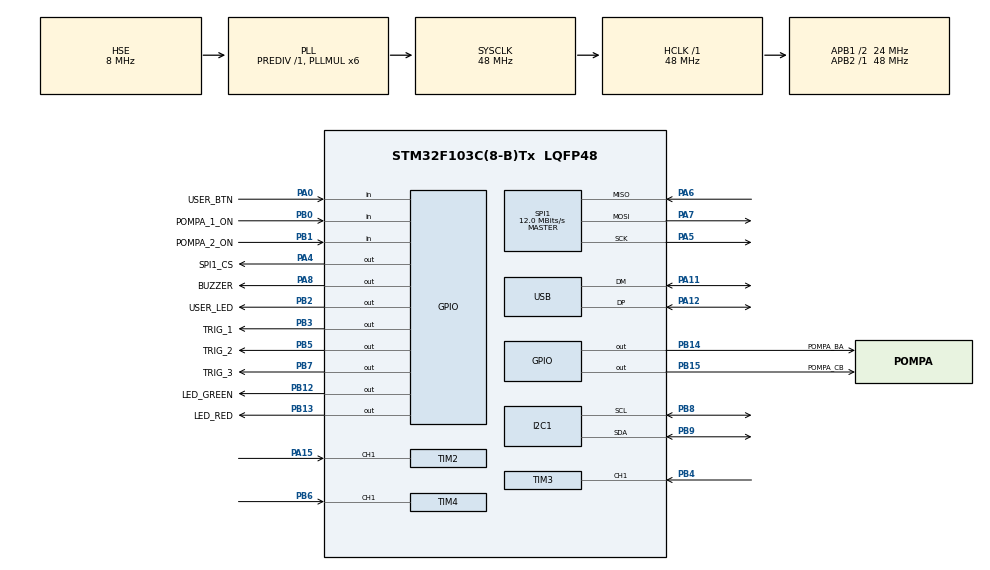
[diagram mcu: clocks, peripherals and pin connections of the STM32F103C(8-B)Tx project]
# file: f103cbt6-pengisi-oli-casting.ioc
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Mcu.Family=STM32F1
Mcu.Name=STM32F103C(8-B)Tx
Mcu.Package=LQFP48
NVIC.PriorityGroup=NVIC_PRIORITYGROUP_4
NVIC.TIM2_IRQn=true\:0\:0\:false\:false\:true\:true\:true\:true
NVIC.TIM3_IRQn=true\:0\:0\:false\:false\:true\:true\:true\:true
NVIC.TIM4_IRQn=true\:0\:0\:false\:false\:true\:true\:true\:true
NVIC.USB_LP_CAN1_RX0_IRQn=true\:0\:0\:false\:false\:true\:false\:true\:true
PA0-WKUP.GPIO_Label=USER_BTN
PA0-WKUP.GPIO_PuPd=GPIO_PULLDOWN
PA0-WKUP.Signal=GPIO_Input
PA11.Mode=Device
PA11.Signal=USB_DM
PA12.Mode=Device
PA12.Signal=USB_DP
PA13.Mode=Serial_Wire
PA13.Signal=SYS_JTMS-SWDIO
PA14.Mode=Serial_Wire
PA14.Signal=SYS_JTCK-SWCLK
PA15.Signal=S_TIM2_CH1_ETR
PA4.GPIO_Label=SPI1_CS
PA4.Signal=GPIO_Output
PA5.Mode=Full_Duplex_Master
PA5.Signal=SPI1_SCK
PA6.Mode=Full_Duplex_Master
PA6.Signal=SPI1_MISO
PA7.Mode=Full_Duplex_Master
PA7.Signal=SPI1_MOSI
PA8.GPIO_Label=BUZZER
PA8.Signal=GPIO_Output
PB0.GPIO_Label=POMPA_1_ON
PB0.GPIO_Mode=GPIO_MODE_INPUT
PB0.GPIO_PuPd=GPIO_PULLUP
PB0.Signal=GPIO_Input
PB1.GPIO_Label=POMPA_2_ON
PB1.GPIO_Mode=GPIO_MODE_INPUT
PB1.GPIO_PuPd=GPIO_PULLUP
PB1.Signal=GPIO_Input
PB12.GPIO_Label=LED_GREEN
PB12.Signal=GPIO_Output
PB13.GPIO_Label=LED_RED
PB13.Signal=GPIO_Output
PB14.GPIO_Label=POMPA_BA
PB14.Signal=GPIO_Output
PB15.GPIO_Label=POMPA_CB
PB15.Signal=GPIO_Output
PB2.GPIO_Label=USER_LED
PB2.Signal=GPIO_Output
PB3.GPIO_Label=TRIG_1
PB3.Signal=GPIO_Output
PB4.Signal=S_TIM3_CH1
PB5.GPIO_Label=TRIG_2
PB5.Signal=GPIO_Output
PB6.Signal=S_TIM4_CH1
PB7.GPIO_Label=TRIG_3
PB7.Signal=GPIO_Output
PB8.Mode=I2C
PB8.Signal=I2C1_SCL
PB9.Mode=I2C
PB9.Signal=I2C1_SDA
PC14-OSC32_IN.Mode=LSE-External-Oscillator
PC14-OSC32_IN.Signal=RCC_OSC32_IN
PC15-OSC32_OUT.Mode=LSE-External-Oscillator
PC15-OSC32_OUT.Signal=RCC_OSC32_OUT
PD0-OSC_IN.Mode=HSE-External-Oscillator
PD0-OSC_IN.Signal=RCC_OSC_IN
PD1-OSC_OUT.Mode=HSE-External-Oscillator
PD1-OSC_OUT.Signal=RCC_OSC_OUT
ProjectManager.HeapSize=0x200
ProjectManager.StackSize=0x400
ProjectManager.TargetToolchain=STM32CubeIDE
RCC.AHBFreq_Value=48000000
RCC.APB1CLKDivider=RCC_HCLK_DIV2
RCC.APB1Freq_Value=24000000
RCC.APB1TimFreq_Value=48000000
RCC.APB2Freq_Value=48000000
RCC.APB2TimFreq_Value=48000000
RCC.HCLKFreq_Value=48000000
RCC.PLLMUL=RCC_PLL_MUL6
RCC.SYSCLKFreq_VALUE=48000000
RCC.SYSCLKSource=RCC_SYSCLKSOURCE_PLLCLK
RCC.USBFreq_Value=48000000
SH.S_TIM2_CH1_ETR.0=TIM2_CH1,Input_Capture1_from_TI1
SH.S_TIM3_CH1.0=TIM3_CH1,Input_Capture1_from_TI1
SH.S_TIM4_CH1.0=TIM4_CH1,Input_Capture1_from_TI1
SPI1.BaudRatePrescaler=SPI_BAUDRATEPRESCALER_4
SPI1.CalculateBaudRate=12.0 MBits/s
SPI1.Direction=SPI_DIRECTION_2LINES
SPI1.Mode=SPI_MODE_MASTER
SPI1.VirtualType=VM_MASTER
TIM2.Channel-Input_Capture1_from_TI1=TIM_CHANNEL_1
TIM3.Channel-Input_Capture1_from_TI1=TIM_CHANNEL_1
TIM4.Channel-Input_Capture1_from_TI1=TIM_CHANNEL_1
USB_DEVICE.CLASS_NAME_FS=CDC
USB_DEVICE.VirtualMode=Cdc
USB_DEVICE.VirtualModeFS=Cdc_FS
VP_FATFS_VS_Generic.Mode=User_defined
VP_RTC_VS_RTC_Activate.Mode=RTC_Enabled
VP_RTC_VS_RTC_Calendar.Mode=RTC_Calendar
VP_TIM2_VS_ClockSourceINT.Mode=Internal
VP_TIM3_VS_ClockSourceINT.Mode=Internal
VP_TIM4_VS_ClockSourceINT.Mode=Internal
VP_USB_DEVICE_VS_USB_DEVICE_CDC_FS.Mode=CDC_FS
board=custom

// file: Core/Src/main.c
/* USER CODE BEGIN Header */
/**
 ******************************************************************************
 * @file           : main.c
 * @brief          : Main program body
 ******************************************************************************
 * @attention
 *
 * Copyright (c) 2025 STMicroelectronics.
 * All rights reserved.
 *
 * This software is licensed under terms that can be found in the LICENSE file
 * in the root directory of this software component.
 * If no LICENSE file comes with this software, it is provided AS-IS.
 *
 ******************************************************************************
 */
/* USER CODE END Header */
#include "main.h"
#include "fatfs.h"
#include "usb_device.h"

/* USER CODE BEGIN Includes */
#include <string.h>
#include <stdio.h>
#include <stdlib.h>
#include <stdarg.h>
#include "lcd_i2c.h"
#include "usbd_cdc_if.h" // Diperlukan untuk VCP
#include "HCSR04.h"
/* USER CODE END Includes */

/* USER CODE BEGIN PTD */

// Struktur untuk state kontrol pengisian (histeresis)
typedef enum
{
  STATE_IDLE,
  STATE_FILLING,
  STATE_FILLING_B, // isi drum B
  STATE_FILLING_C  // isi drum C
} FillState;

// Struktur untuk menyimpan semua parameter yang dapat dikonfigurasi
typedef struct
{
  uint32_t magic_number; // Penanda untuk verifikasi data di Flash

  float tinggi_A;
  float ambang_bawah_A;
  float target_penuh_A;

  float tinggi_B;
  float ambang_bawah_B;
  float target_penuh_B;

  float tinggi_C;
  float ambang_bawah_C;
  float target_penuh_C;

  float sumber_kosong;

  uint8_t moving_avg_size; // Jumlah nilai yang akan dirata-rata
} ControlParams;
/* USER CODE END PTD */

/* USER CODE BEGIN PD */
#define JENIS_ALARM 1         // 1 nyalakan alarm ketika penuh atau kosong, 2 nyalakan alarm dari kosong sampai penuh, 3 alarm kosong saja
#define AUTO_CUT_OFF 0        // 1 tambah fitur auto cutoff, 0 full manual sensor hanya peringatan
#define SAMPLE_SIZE 8         // Define the size of the first-stage sampling
#define MAX_MOVING_AVG_SIZE 5 // Ukuran maksimum buffer

#define GUNAKAN_LCD 1     // Aktifkan jika menggunakan LCD I2C
#define GUNAKAN_SD_CARD 0 // Aktifkan jika menggunakan SD Card

#define HCSR04_SENSOR1 0
#define HCSR04_SENSOR2 1
#define HCSR04_SENSOR3 2

#define NUM_SENSORS 3

// Definisi Konstanta Kontrol Drum
#define TINGGI_A 85.0f // dalam cm
#define TINGGI_B 85.0f // dalam cm
#define TINGGI_C 85.0f // dalam cm

#define AMBANG_BAWAH 25.0f // Level 25% untuk memicu pengisian
#define TARGET_PENUH 70.0f // Target 70% untuk menghentikan pengisian
#define SUMBER_KOSONG 1.0f // Anggap sumber kosong jika level <= 1%

// Alamat di memori Flash untuk menyimpan parameter.
// Pilih sektor terakhir agar aman dari kode program utama.
// Untuk STM32F103C8 (64KB), alamat page terakhir adalah 0x0800FC00.
#define FLASH_STORAGE_ADDRESS 0x0800FC00
#define FLASH_MAGIC_NUMBER 0xDEADBEEF // Penanda data valid
/* USER CODE END PD */

I2C_HandleTypeDef hi2c1;

RTC_HandleTypeDef hrtc;

SPI_HandleTypeDef hspi1;

TIM_HandleTypeDef htim2;
TIM_HandleTypeDef htim3;
TIM_HandleTypeDef htim4;

/* USER CODE BEGIN PV */
// Variables for the new two-stage filter
float sample_buffer1[SAMPLE_SIZE];
float sample_buffer2[SAMPLE_SIZE];
float sample_buffer3[SAMPLE_SIZE];
uint8_t sample_counter = 0;

// New buffers for the two-stage filter
int Stage2_buffer1[MAX_MOVING_AVG_SIZE];
int Stage2_buffer2[MAX_MOVING_AVG_SIZE];
int Stage2_buffer3[MAX_MOVING_AVG_SIZE];

uint8_t stage2_index1 = 0;
uint8_t stage2_index2 = 0;
uint8_t stage2_index3 = 0;

uint8_t is_stage2_full1 = 0;
uint8_t is_stage2_full2 = 0;
uint8_t is_stage2_full3 = 0;

// variabel moving average
float Distance1_buffer[MAX_MOVING_AVG_SIZE];
float Distance2_buffer[MAX_MOVING_AVG_SIZE];
float Distance3_buffer[MAX_MOVING_AVG_SIZE];

float filtered_distance1, filtered_distance2, filtered_distance3;

uint8_t buffer_index_1 = 0;
uint8_t buffer_index_2 = 0;
uint8_t buffer_index_3 = 0;

uint8_t is_buffer_full_1 = 0;
uint8_t is_buffer_full_2 = 0;
uint8_t is_buffer_full_3 = 0;

// Buffer untuk LCD (misalnya, 20 karakter)
char lcd_buffer1[20];
char lcd_buffer2[20];

// Variabel untuk level air
float LevelA_persen = 0, LevelB_persen = 0, LevelC_persen = 0;

// State sebelumnya per drum
static uint8_t was_full_A = 0, was_full_B = 0, was_full_C = 0;
static uint8_t was_empty_A = 0, was_empty_B = 0, was_empty_C = 0;
uint8_t is_full_A = 0, is_full_B = 0, is_full_C = 0;
uint8_t is_empty_A = 0, is_empty_B = 0, is_empty_C = 0;
// Timer buzzer
static uint32_t buzzer_start_time = 0;
static uint8_t buzzer_active = 0;
uint8_t flag_alarm_sampai_penuh = 0;

// Variabel state untuk kontrol histeresis
FillState state_pompa_A = STATE_IDLE;
FillState state_pompa_B = STATE_IDLE;

// Variabel global untuk menyimpan parameter
ControlParams g_params;

// Variabel untuk CLI via USB VCP
#define RX_BUFFER_SIZE 128
uint8_t g_usb_rx_buffer[RX_BUFFER_SIZE];
volatile uint32_t g_rx_index = 0;
volatile uint8_t g_command_ready = 0;

// variabel untuk sensor ultrasonik
uint16_t TRIG_Ticks = 0;
uint16_t LCD_Ticks = 0;
float Distance1 = 0.0, Distance2 = 0.0, Distance3 = 0.0;
char TEXT_L1[16] = {0};
char TEXT_L2[16] = {0};

// Timers for non-blocking loops
uint32_t last_trig_time = 0;
uint32_t trig_time = 25;
uint8_t counter_trig = 0;

/* USER CODE END PV */

void SystemClock_Config(void);
static void MX_GPIO_Init(void);
static void MX_I2C1_Init(void);
static void MX_RTC_Init(void);
static void MX_SPI1_Init(void);
static void MX_TIM2_Init(void);
static void MX_TIM3_Init(void);
static void MX_TIM4_Init(void);
/* USER CODE BEGIN PFP */
void Run_Control_Logic(void);
void Update_LCD_Display(void);
void Log_Data_To_SD(void);

// Fungsi untuk CLI dan Parameter
void VCP_printf(const char *format, ...);
void Process_Command(uint8_t *cmd_buffer);
void Save_Parameters_To_Flash(void);
void Load_Parameters_From_Flash(void);
void Set_Default_Parameters(void);
float calculate_moving_average(float *buffer, uint8_t size, uint8_t is_full);
float calculate_weighted_moving_average(float *buffer, uint8_t size, uint8_t is_full);
float find_max_in_sample(float *sample_buffer, float tinggi_drum);
int find_mode_in_buffer(int *buffer, uint8_t size, uint8_t is_full);

/* USER CODE END PFP */

int main(void)
{

  /* MCU Configuration--------------------------------------------------------*/

  /* Reset of all peripherals, Initializes the Flash interface and the Systick. */
  HAL_Init();

  /* Configure the system clock */
  SystemClock_Config();

  /* Initialize all configured peripherals */
  MX_GPIO_Init();
  MX_I2C1_Init();
  MX_RTC_Init();
  MX_SPI1_Init();
  MX_FATFS_Init();
  MX_USB_DEVICE_Init();
  MX_TIM2_Init();
  MX_TIM3_Init();
  MX_TIM4_Init();
  /* USER CODE BEGIN 2 */
#if GUNAKAN_LCD
  lcd_init(&hi2c1); // Inisialisasi LCD I2C
  lcd_clear();      // Bersihkan LCD

  // pesan awal di LCD
  lcd_set_cursor(0, 0);
  sprintf(lcd_buffer1, "hai dunia");
  lcd_send_string(lcd_buffer1);
#endif

  // inisialisasi sensor ultrasonik
  HCSR04_Init(HCSR04_SENSOR1, &htim2);
  HCSR04_Init(HCSR04_SENSOR2, &htim3);
  HCSR04_Init(HCSR04_SENSOR3, &htim4);

  // Muat parameter dari Flash saat startup
  Load_Parameters_From_Flash();

  // Beri sedikit waktu agar USB siap
  HAL_Delay(2000);
  VCP_printf("\r\nSistem Kontrol Drum Siap. Ketik '$H' untuk bantuan.\r\n");
  /* USER CODE END 2 */

  /* Infinite loop */
  /* USER CODE BEGIN WHILE */
  while (1)
  {
    Distance1 = HCSR04_Read(HCSR04_SENSOR1);
    Distance2 = HCSR04_Read(HCSR04_SENSOR2);
    Distance3 = HCSR04_Read(HCSR04_SENSOR3);

    uint32_t current_time = HAL_GetTick();

    // --- Task-like functions execution ---

    // Run HCSR04_Trigger every 100ms
    if (current_time - last_trig_time >= trig_time)
    {
      HCSR04_Trigger(HCSR04_SENSOR1);
      HCSR04_Trigger(HCSR04_SENSOR2);
      HCSR04_Trigger(HCSR04_SENSOR3);
      last_trig_time = current_time;
    }

    // Cek apakah ada perintah baru dari USB VCP untuk diproses
    if (g_command_ready)
    {
      Process_Command(g_usb_rx_buffer);
      // Reset buffer dan flag
      memset(g_usb_rx_buffer, 0, RX_BUFFER_SIZE);
      g_rx_index = 0;
      g_command_ready = 0;
    }

    Run_Control_Logic();

#if GUNAKAN_LCD == 1
    Update_LCD_Display();
#endif

    HAL_Delay(100);
    /* USER CODE END WHILE */

  }
}

void SystemClock_Config(void)
{
  RCC_OscInitTypeDef RCC_OscInitStruct = {0};
  RCC_ClkInitTypeDef RCC_ClkInitStruct = {0};
  RCC_PeriphCLKInitTypeDef PeriphClkInit = {0};

  /** Initializes the RCC Oscillators according to the specified parameters
   * in the RCC_OscInitTypeDef structure.
   */
  RCC_OscInitStruct.OscillatorType = RCC_OSCILLATORTYPE_LSI | RCC_OSCILLATORTYPE_HSE;
  RCC_OscInitStruct.HSEState = RCC_HSE_ON;
  RCC_OscInitStruct.HSEPredivValue = RCC_HSE_PREDIV_DIV1;
  RCC_OscInitStruct.HSIState = RCC_HSI_ON;
  RCC_OscInitStruct.LSIState = RCC_LSI_ON;
  RCC_OscInitStruct.PLL.PLLState = RCC_PLL_ON;
  RCC_OscInitStruct.PLL.PLLSource = RCC_PLLSOURCE_HSE;
  RCC_OscInitStruct.PLL.PLLMUL = RCC_PLL_MUL6;
  if (HAL_RCC_OscConfig(&RCC_OscInitStruct) != HAL_OK)
  {
    Error_Handler();
  }

  /** Initializes the CPU, AHB and APB buses clocks
   */
  RCC_ClkInitStruct.ClockType = RCC_CLOCKTYPE_HCLK | RCC_CLOCKTYPE_SYSCLK | RCC_CLOCKTYPE_PCLK1 | RCC_CLOCKTYPE_PCLK2;
  RCC_ClkInitStruct.SYSCLKSource = RCC_SYSCLKSOURCE_PLLCLK;
  RCC_ClkInitStruct.AHBCLKDivider = RCC_SYSCLK_DIV1;
  RCC_ClkInitStruct.APB1CLKDivider = RCC_HCLK_DIV2;
  RCC_ClkInitStruct.APB2CLKDivider = RCC_HCLK_DIV1;

  if (HAL_RCC_ClockConfig(&RCC_ClkInitStruct, FLASH_LATENCY_1) != HAL_OK)
  {
    Error_Handler();
  }
  PeriphClkInit.PeriphClockSelection = RCC_PERIPHCLK_RTC | RCC_PERIPHCLK_USB;
  PeriphClkInit.RTCClockSelection = RCC_RTCCLKSOURCE_LSI;
  PeriphClkInit.UsbClockSelection = RCC_USBCLKSOURCE_PLL;
  if (HAL_RCCEx_PeriphCLKConfig(&PeriphClkInit) != HAL_OK)
  {
    Error_Handler();
  }
}

static void MX_I2C1_Init(void)
{

  hi2c1.Instance = I2C1;
  hi2c1.Init.ClockSpeed = 100000;
  hi2c1.Init.DutyCycle = I2C_DUTYCYCLE_2;
  hi2c1.Init.OwnAddress1 = 0;
  hi2c1.Init.AddressingMode = I2C_ADDRESSINGMODE_7BIT;
  hi2c1.Init.DualAddressMode = I2C_DUALADDRESS_DISABLE;
  hi2c1.Init.OwnAddress2 = 0;
  hi2c1.Init.GeneralCallMode = I2C_GENERALCALL_DISABLE;
  hi2c1.Init.NoStretchMode = I2C_NOSTRETCH_DISABLE;
  if (HAL_I2C_Init(&hi2c1) != HAL_OK)
  {
    Error_Handler();
  }
}

static void MX_RTC_Init(void)
{

  RTC_TimeTypeDef sTime = {0};
  RTC_DateTypeDef DateToUpdate = {0};

  /** Initialize RTC Only
   */
  hrtc.Instance = RTC;
  hrtc.Init.AsynchPrediv = RTC_AUTO_1_SECOND;
  hrtc.Init.OutPut = RTC_OUTPUTSOURCE_ALARM;
  if (HAL_RTC_Init(&hrtc) != HAL_OK)
  {
    Error_Handler();
  }

  /** Initialize RTC and set the Time and Date
   */
  sTime.Hours = 0x0;
  sTime.Minutes = 0x0;
  sTime.Seconds = 0x0;

  if (HAL_RTC_SetTime(&hrtc, &sTime, RTC_FORMAT_BCD) != HAL_OK)
  {
    Error_Handler();
  }
  DateToUpdate.WeekDay = RTC_WEEKDAY_MONDAY;
  DateToUpdate.Month = RTC_MONTH_JANUARY;
  DateToUpdate.Date = 0x1;
  DateToUpdate.Year = 0x0;

  if (HAL_RTC_SetDate(&hrtc, &DateToUpdate, RTC_FORMAT_BCD) != HAL_OK)
  {
    Error_Handler();
  }
}

static void MX_SPI1_Init(void)
{

  /* SPI1 parameter configuration*/
  hspi1.Instance = SPI1;
  hspi1.Init.Mode = SPI_MODE_MASTER;
  hspi1.Init.Direction = SPI_DIRECTION_2LINES;
  hspi1.Init.DataSize = SPI_DATASIZE_8BIT;
  hspi1.Init.CLKPolarity = SPI_POLARITY_LOW;
  hspi1.Init.CLKPhase = SPI_PHASE_1EDGE;
  hspi1.Init.NSS = SPI_NSS_SOFT;
  hspi1.Init.BaudRatePrescaler = SPI_BAUDRATEPRESCALER_4;
  hspi1.Init.FirstBit = SPI_FIRSTBIT_MSB;
  hspi1.Init.TIMode = SPI_TIMODE_DISABLE;
  hspi1.Init.CRCCalculation = SPI_CRCCALCULATION_DISABLE;
  hspi1.Init.CRCPolynomial = 10;
  if (HAL_SPI_Init(&hspi1) != HAL_OK)
  {
    Error_Handler();
  }
}

static void MX_TIM2_Init(void)
{

  TIM_ClockConfigTypeDef sClockSourceConfig = {0};
  TIM_MasterConfigTypeDef sMasterConfig = {0};
  TIM_IC_InitTypeDef sConfigIC = {0};

  htim2.Instance = TIM2;
  htim2.Init.Prescaler = 0;
  htim2.Init.CounterMode = TIM_COUNTERMODE_UP;
  htim2.Init.Period = 65535;
  htim2.Init.ClockDivision = TIM_CLOCKDIVISION_DIV1;
  htim2.Init.AutoReloadPreload = TIM_AUTORELOAD_PRELOAD_DISABLE;
  if (HAL_TIM_Base_Init(&htim2) != HAL_OK)
  {
    Error_Handler();
  }
  sClockSourceConfig.ClockSource = TIM_CLOCKSOURCE_INTERNAL;
  if (HAL_TIM_ConfigClockSource(&htim2, &sClockSourceConfig) != HAL_OK)
  {
    Error_Handler();
  }
  if (HAL_TIM_IC_Init(&htim2) != HAL_OK)
  {
    Error_Handler();
  }
  sMasterConfig.MasterOutputTrigger = TIM_TRGO_RESET;
  sMasterConfig.MasterSlaveMode = TIM_MASTERSLAVEMODE_DISABLE;
  if (HAL_TIMEx_MasterConfigSynchronization(&htim2, &sMasterConfig) != HAL_OK)
  {
    Error_Handler();
  }
  sConfigIC.ICPolarity = TIM_INPUTCHANNELPOLARITY_RISING;
  sConfigIC.ICSelection = TIM_ICSELECTION_DIRECTTI;
  sConfigIC.ICPrescaler = TIM_ICPSC_DIV1;
  sConfigIC.ICFilter = 0;
  if (HAL_TIM_IC_ConfigChannel(&htim2, &sConfigIC, TIM_CHANNEL_1) != HAL_OK)
  {
    Error_Handler();
  }
}

static void MX_TIM3_Init(void)
{

  TIM_ClockConfigTypeDef sClockSourceConfig = {0};
  TIM_MasterConfigTypeDef sMasterConfig = {0};
  TIM_IC_InitTypeDef sConfigIC = {0};

  htim3.Instance = TIM3;
  htim3.Init.Prescaler = 0;
  htim3.Init.CounterMode = TIM_COUNTERMODE_UP;
  htim3.Init.Period = 65535;
  htim3.Init.ClockDivision = TIM_CLOCKDIVISION_DIV1;
  htim3.Init.AutoReloadPreload = TIM_AUTORELOAD_PRELOAD_DISABLE;
  if (HAL_TIM_Base_Init(&htim3) != HAL_OK)
  {
    Error_Handler();
  }
  sClockSourceConfig.ClockSource = TIM_CLOCKSOURCE_INTERNAL;
  if (HAL_TIM_ConfigClockSource(&htim3, &sClockSourceConfig) != HAL_OK)
  {
    Error_Handler();
  }
  if (HAL_TIM_IC_Init(&htim3) != HAL_OK)
  {
    Error_Handler();
  }
  sMasterConfig.MasterOutputTrigger = TIM_TRGO_RESET;
  sMasterConfig.MasterSlaveMode = TIM_MASTERSLAVEMODE_DISABLE;
  if (HAL_TIMEx_MasterConfigSynchronization(&htim3, &sMasterConfig) != HAL_OK)
  {
    Error_Handler();
  }
  sConfigIC.ICPolarity = TIM_INPUTCHANNELPOLARITY_RISING;
  sConfigIC.ICSelection = TIM_ICSELECTION_DIRECTTI;
  sConfigIC.ICPrescaler = TIM_ICPSC_DIV1;
  sConfigIC.ICFilter = 0;
  if (HAL_TIM_IC_ConfigChannel(&htim3, &sConfigIC, TIM_CHANNEL_1) != HAL_OK)
  {
    Error_Handler();
  }
}

static void MX_TIM4_Init(void)
{

  TIM_ClockConfigTypeDef sClockSourceConfig = {0};
  TIM_MasterConfigTypeDef sMasterConfig = {0};
  TIM_IC_InitTypeDef sConfigIC = {0};

  htim4.Instance = TIM4;
  htim4.Init.Prescaler = 0;
  htim4.Init.CounterMode = TIM_COUNTERMODE_UP;
  htim4.Init.Period = 65535;
  htim4.Init.ClockDivision = TIM_CLOCKDIVISION_DIV1;
  htim4.Init.AutoReloadPreload = TIM_AUTORELOAD_PRELOAD_DISABLE;
  if (HAL_TIM_Base_Init(&htim4) != HAL_OK)
  {
    Error_Handler();
  }
  sClockSourceConfig.ClockSource = TIM_CLOCKSOURCE_INTERNAL;
  if (HAL_TIM_ConfigClockSource(&htim4, &sClockSourceConfig) != HAL_OK)
  {
    Error_Handler();
  }
  if (HAL_TIM_IC_Init(&htim4) != HAL_OK)
  {
    Error_Handler();
  }
  sMasterConfig.MasterOutputTrigger = TIM_TRGO_RESET;
  sMasterConfig.MasterSlaveMode = TIM_MASTERSLAVEMODE_DISABLE;
  if (HAL_TIMEx_MasterConfigSynchronization(&htim4, &sMasterConfig) != HAL_OK)
  {
    Error_Handler();
  }
  sConfigIC.ICPolarity = TIM_INPUTCHANNELPOLARITY_RISING;
  sConfigIC.ICSelection = TIM_ICSELECTION_DIRECTTI;
  sConfigIC.ICPrescaler = TIM_ICPSC_DIV1;
  sConfigIC.ICFilter = 0;
  if (HAL_TIM_IC_ConfigChannel(&htim4, &sConfigIC, TIM_CHANNEL_1) != HAL_OK)
  {
    Error_Handler();
  }
}

static void MX_GPIO_Init(void)
{
  GPIO_InitTypeDef GPIO_InitStruct = {0};

  /* GPIO Ports Clock Enable */
  __HAL_RCC_GPIOC_CLK_ENABLE();
  __HAL_RCC_GPIOD_CLK_ENABLE();
  __HAL_RCC_GPIOA_CLK_ENABLE();
  __HAL_RCC_GPIOB_CLK_ENABLE();

  /*Configure GPIO pin Output Level */
  HAL_GPIO_WritePin(GPIOA, SPI1_CS_Pin | BUZZER_Pin, GPIO_PIN_RESET);

  /*Configure GPIO pin Output Level */
  HAL_GPIO_WritePin(GPIOB, USER_LED_Pin | LED_GREEN_Pin | LED_RED_Pin | POMPA_BA_Pin | POMPA_CB_Pin | TRIG_1_Pin | TRIG_2_Pin | TRIG_3_Pin, GPIO_PIN_RESET);

  /*Configure GPIO pin : USER_BTN_Pin */
  GPIO_InitStruct.Pin = USER_BTN_Pin;
  GPIO_InitStruct.Mode = GPIO_MODE_INPUT;
  GPIO_InitStruct.Pull = GPIO_PULLDOWN;
  HAL_GPIO_Init(USER_BTN_GPIO_Port, &GPIO_InitStruct);

  /*Configure GPIO pins : SPI1_CS_Pin BUZZER_Pin */
  GPIO_InitStruct.Pin = SPI1_CS_Pin | BUZZER_Pin;
  GPIO_InitStruct.Mode = GPIO_MODE_OUTPUT_PP;
  GPIO_InitStruct.Pull = GPIO_NOPULL;
  GPIO_InitStruct.Speed = GPIO_SPEED_FREQ_LOW;
  HAL_GPIO_Init(GPIOA, &GPIO_InitStruct);

  /*Configure GPIO pins : POMPA_1_ON_Pin POMPA_2_ON_Pin */
  GPIO_InitStruct.Pin = POMPA_1_ON_Pin | POMPA_2_ON_Pin;
  GPIO_InitStruct.Mode = GPIO_MODE_INPUT;
  GPIO_InitStruct.Pull = GPIO_PULLUP;
  HAL_GPIO_Init(GPIOB, &GPIO_InitStruct);

  /*Configure GPIO pins : USER_LED_Pin LED_GREEN_Pin LED_RED_Pin POMPA_BA_Pin
                           POMPA_CB_Pin TRIG_1_Pin TRIG_2_Pin TRIG_3_Pin */
  GPIO_InitStruct.Pin = USER_LED_Pin | LED_GREEN_Pin | LED_RED_Pin | POMPA_BA_Pin | POMPA_CB_Pin | TRIG_1_Pin | TRIG_2_Pin | TRIG_3_Pin;
  GPIO_InitStruct.Mode = GPIO_MODE_OUTPUT_PP;
  GPIO_InitStruct.Pull = GPIO_NOPULL;
  GPIO_InitStruct.Speed = GPIO_SPEED_FREQ_LOW;
  HAL_GPIO_Init(GPIOB, &GPIO_InitStruct);

}

/* USER CODE BEGIN 4 */
// FUNGSI BARU: Mencari nilai yang paling sering muncul (modus) dalam buffer integer
int find_mode_in_buffer(int *buffer, uint8_t size, uint8_t is_full)
{
  if (size == 0 || is_full == 0) // Jika buffer kosong
  {
    return 0;
  }

  int mode = buffer[0];
  int max_count = 1;

  for (int i = 0; i < size; i++)
  {
    int current_val = buffer[i];
    int current_count = 0;
    for (int j = 0; j < size; j++)
    {
      if (buffer[j] == current_val)
      {
        current_count++;
      }
    }
    if (current_count > max_count)
    {
      max_count = current_count;
      mode = current_val;
    }
  }

  return mode;
}

// Function to find the maximum value from a small sample
float find_max_in_sample(float *sample_buffer, float tinggi_drum)
{
  float max_val = 0.0f;
  for (int i = 0; i < SAMPLE_SIZE; i++)
  {
    if (sample_buffer[i] > max_val)
    {
      max_val = sample_buffer[i];
    }
  }

  if (max_val > tinggi_drum)
  {
    max_val = tinggi_drum; // jangan sampai nilainya melebihi max tinggi A
  }

  return max_val;
}

// kalkukasi moving average
float calculate_moving_average(float *buffer, uint8_t size, uint8_t is_full)
{
  float sum = 0.0f;
  uint8_t count = is_full ? size : buffer_index_1; // Gunakan jumlah data yang ada

  if (count == 0)
    return 0.0f;

  for (int i = 0; i < count; i++)
  {
    sum += buffer[i];
  }
  return sum / count;
}

float calculate_weighted_moving_average(float *buffer, uint8_t size, uint8_t is_full)
{
  float sum_weighted_values = 0.0f;
  float sum_of_weights = 0.0f;
  uint8_t count = is_full ? size : buffer_index_1;

  if (count == 0)
  {
    return 0.0f;
  }

  for (int i = 0; i < count; i++)
  {
    // Simple linear weighting: use the value itself as the weight.
    // You can adjust this to your needs. For example, add a base value
    // to prevent zero weights.
    float weight = buffer[i];

    // Or if you want a more explicit weighting:
    // float weight = 1.0f + (buffer[i] / 10.0f); // Example: a value of 90 has a weight of 10

    sum_weighted_values += buffer[i] * weight;
    sum_of_weights += weight;
  }

  if (sum_of_weights == 0.0f)
  {
    return 0.0f;
  }

  return sum_weighted_values / sum_of_weights;
}

void HAL_TIM_IC_CaptureCallback(TIM_HandleTypeDef *htim)
{
  HCSR04_TMR_IC_ISR(htim);
}

void HAL_TIM_PeriodElapsedCallback(TIM_HandleTypeDef *htim)
{
  HCSR04_TMR_OVF_ISR(htim);
}

/**
 * @brief Mengirim string terformat melalui USB VCP.
 */
void VCP_printf(const char *format, ...)
{
  char buf[126];
  va_list args;
  va_start(args, format);
  vsnprintf(buf, sizeof(buf), format, args);
  va_end(args);
  CDC_Transmit_FS((uint8_t *)buf, strlen(buf));
}

/**
 * @brief Mengatur parameter ke nilai default.
 */
void Set_Default_Parameters(void)
{
  g_params.magic_number = FLASH_MAGIC_NUMBER;
  g_params.tinggi_A = TINGGI_A;
  g_params.ambang_bawah_A = AMBANG_BAWAH;
  g_params.target_penuh_A = TARGET_PENUH;
  g_params.tinggi_B = TINGGI_B;
  g_params.ambang_bawah_B = AMBANG_BAWAH;
  g_params.target_penuh_B = TARGET_PENUH;
  g_params.tinggi_C = TINGGI_C;
  g_params.ambang_bawah_C = AMBANG_BAWAH;
  g_params.target_penuh_C = TARGET_PENUH;
  g_params.sumber_kosong = SUMBER_KOSONG;
  g_params.moving_avg_size = MAX_MOVING_AVG_SIZE; // Nilai default 5
}

/**
 * @brief Menyimpan parameter ke Flash.
 */
void Save_Parameters_To_Flash(void)
{
  HAL_FLASH_Unlock();
  FLASH_EraseInitTypeDef EraseInitStruct;
  uint32_t PageError = 0;
  EraseInitStruct.TypeErase = FLASH_TYPEERASE_PAGES;
  EraseInitStruct.PageAddress = FLASH_STORAGE_ADDRESS;
  EraseInitStruct.NbPages = 1;

  if (HAL_FLASHEx_Erase(&EraseInitStruct, &PageError) != HAL_OK)
  {
    VCP_printf("Error: Gagal menghapus Flash!\r\n");
    HAL_FLASH_Lock();
    return;
  }

  uint32_t address = FLASH_STORAGE_ADDRESS;
  uint32_t *data_ptr = (uint32_t *)&g_params;
  for (size_t i = 0; i < sizeof(ControlParams) / 4; i++)
  {
    if (HAL_FLASH_Program(FLASH_TYPEPROGRAM_WORD, address, data_ptr[i]) != HAL_OK)
    {
      VCP_printf("Error: Gagal menulis ke Flash!\r\n");
      break;
    }
    address += 4;
  }

  HAL_FLASH_Lock();
  VCP_printf("OK: Parameter berhasil disimpan ke Flash.\r\n");
}

/**
 * @brief Memuat parameter dari Flash. Jika gagal, gunakan nilai default.
 */
void Load_Parameters_From_Flash(void)
{
  ControlParams params_from_flash;
  memcpy(&params_from_flash, (void *)FLASH_STORAGE_ADDRESS,
         sizeof(ControlParams));

  if (params_from_flash.magic_number == FLASH_MAGIC_NUMBER)
  {
    memcpy(&g_params, &params_from_flash, sizeof(ControlParams));
    // VCP belum tentu siap di sini, jadi jangan print
  }
  else
  {
    Set_Default_Parameters();
  }
}

/**
 * @brief Memproses perintah yang diterima dari USB VCP.
 */
void Process_Command(uint8_t *cmd_buffer)
{
  char *cmd = (char *)cmd_buffer;
  float min, max;
  uint16_t val;

  if (strncmp(cmd, "$$", 2) == 0)
  {
    char large_buffer[2048]; // Gunakan buffer yang lebih besar
    int len = 0;

    len += sprintf(large_buffer + len, "--- Parameter Saat Ini ---\r\n");
    len += sprintf(large_buffer + len, "Drum A: Tinggi=%.1f, Min=%.1f%%, Max=%.1f%%\r\n", g_params.tinggi_A, g_params.ambang_bawah_A, g_params.target_penuh_A);
    len += sprintf(large_buffer + len, "Drum B: Tinggi=%.1f, Min=%.1f%%, Max=%.1f%%\r\n", g_params.tinggi_B, g_params.ambang_bawah_B, g_params.target_penuh_B);
    len += sprintf(large_buffer + len, "Drum C: Tinggi=%.1f, Min=%.1f%%, Max=%.1f%%\r\n", g_params.tinggi_C, g_params.ambang_bawah_C, g_params.target_penuh_C);
    len += sprintf(large_buffer + len, "Ambang Sumber Kosong: %.1f%%\r\n", g_params.sumber_kosong);

    CDC_Transmit_FS((uint8_t *)large_buffer, len);
  }
  else if (strncmp(cmd, "$P", 2) == 0)
  {
    char large_buffer[2048]; // Gunakan buffer yang lebih besar
    int len = 0;

    len += sprintf(large_buffer + len, "--- Daftar Pin ---\r\n");
    len += sprintf(large_buffer + len, "Sensor A (TIM2_CH1): PB3 (TRIG), PA15 (ECHO)\r\n");
    len += sprintf(large_buffer + len, "Sensor B (TIM3_CH1): PB5 (TRIG), PB4 (ECHO)\r\n");
    len += sprintf(large_buffer + len, "Sensor C (TIM4_CH1): PB7 (TRIG), PB6 (ECHO)\r\n");
    len += sprintf(large_buffer + len, "Pompa B->A: PB14\r\n");
    len += sprintf(large_buffer + len, "Pompa C->B: PB15\r\n");
    len += sprintf(large_buffer + len, "LED Merah (Alert): PB13\r\n");
    len += sprintf(large_buffer + len, "LCD I2C (I2C1): PB6 (SCL), PB7 (SDA)\r\n");

    CDC_Transmit_FS((uint8_t *)large_buffer, len);
  }
  else if (strncmp(cmd, "$H", 2) == 0)
  {
    char large_buffer[2048]; // Gunakan buffer yang lebih besar
    int len = 0;

    len += sprintf(large_buffer + len, "--- Bantuan ---\r\n");
    len += sprintf(large_buffer + len, "$$          : Lihat semua parameter\r\n");
    len += sprintf(large_buffer + len, "$P          : Lihat daftar pin\r\n");
    len += sprintf(large_buffer + len, "$H          : Tampilkan pesan ini\r\n");
    len += sprintf(large_buffer + len, "$1=<min>,<max> : Set ambang batas Drum A\r\n");
    len += sprintf(large_buffer + len, "$2=<min>,<max> : Set ambang batas Drum B\r\n");
    len += sprintf(large_buffer + len, "$3=<min>,<max> : Set ambang batas Drum C\r\n");
    len += sprintf(large_buffer + len, "$M=<num>       : Set nilai mov avrg sensor\r\n");
    len += sprintf(large_buffer + len, "$S          : Simpan parameter ke Flash\r\n");
    len += sprintf(large_buffer + len, "$L          : Muat parameter dari Flash\r\n");
    len += sprintf(large_buffer + len, "$D          : Kembalikan ke pengaturan default\r\n");

    CDC_Transmit_FS((uint8_t *)large_buffer, len);
  }
  else if (sscanf(cmd, "$1=%f,%f", &min, &max) == 2)
  {
    g_params.ambang_bawah_A = min;
    g_params.target_penuh_A = max;
    VCP_printf("OK: Parameter Drum A diubah -> Min=%.1f, Max=%.1f\r\n", min, max);
  }
  else if (sscanf(cmd, "$2=%f,%f", &min, &max) == 2)
  {
    g_params.ambang_bawah_B = min;
    g_params.target_penuh_B = max;
    VCP_printf("OK: Parameter Drum B diubah -> Min=%.1f, Max=%.1f\r\n", min, max);
  }
  else if (sscanf(cmd, "$3=%f,%f", &min, &max) == 2)
  {
    g_params.ambang_bawah_C = min;
    g_params.target_penuh_C = max;
    VCP_printf("OK: Parameter Drum C diubah -> Min=%.1f, Max=%.1f\r\n", min, max);
  }
  else if (sscanf(cmd, "$M=%hd", &val) == 1)
  {
    if (val > 0 && val <= MAX_MOVING_AVG_SIZE)
    {
      g_params.moving_avg_size = (uint8_t)val;
      VCP_printf("OK: Ukuran Moving Average diubah -> %d\r\n", val);
      // Reset buffers setelah mengubah ukuran
      memset(Distance1_buffer, 0, sizeof(Distance1_buffer));
      memset(Distance2_buffer, 0, sizeof(Distance2_buffer));
      memset(Distance3_buffer, 0, sizeof(Distance3_buffer));
      buffer_index_1 = 0;
      buffer_index_2 = 0;
      buffer_index_3 = 0;
      is_buffer_full_1 = 0;
      is_buffer_full_2 = 0;
      is_buffer_full_3 = 0;
    }
    else
    {
      VCP_printf("Error: Ukuran Moving Average tidak valid (1-%d).\r\n", MAX_MOVING_AVG_SIZE);
    }
  }
  else if (strncmp(cmd, "$S", 2) == 0)
  {
    Save_Parameters_To_Flash();
    VCP_printf("OK: Parameter disimpan ke Flash.\r\n");
  }
  else if (strncmp(cmd, "$L", 2) == 0)
  {
    Load_Parameters_From_Flash();
    VCP_printf("OK: Parameter dimuat dari Flash.\r\n");
  }
  else if (strncmp(cmd, "$D", 2) == 0)
  {
    Set_Default_Parameters();
    VCP_printf("OK: Parameter dikembalikan ke default.\r\n");
  }
  else
  {
    VCP_printf(
        "Error: Perintah tidak dikenali. Ketik '$H' untuk bantuan.\r\n");
  }
}
void Run_Control_Logic(void)
{
  static uint8_t stage2_count1 = 0;
  static uint8_t stage2_count2 = 0;
  static uint8_t stage2_count3 = 0;

  // Collect 8 samples before processing
  sample_buffer1[sample_counter] = Distance1;
  sample_buffer2[sample_counter] = Distance2;
  sample_buffer3[sample_counter] = Distance3;
  sample_counter++;

  // Only process the filter when 8 samples are collected
  if (sample_counter >= SAMPLE_SIZE)
  {
    sample_counter = 0; // Reset the counter

    // --- Stage 1: Find the maximum value from the 8 samples ---
    float max_distance1 = find_max_in_sample(sample_buffer1, g_params.tinggi_A);
    float max_distance2 = find_max_in_sample(sample_buffer2, g_params.tinggi_B);
    float max_distance3 = find_max_in_sample(sample_buffer3, g_params.tinggi_C);

    // --- Stage 2: Push the max value into the WMA buffer ---
    // Check if the value is not an "error" value (equal to TINGGI_A)
    // If it's an error, don't add it to the buffer and keep the previous value.
    if (max_distance1 != g_params.tinggi_A)
    {
      Stage2_buffer1[stage2_index1] = max_distance1;
      stage2_index1 = (stage2_index1 + 1) % g_params.moving_avg_size;
      if (stage2_count1 < g_params.moving_avg_size)
      {
        stage2_count1++;
        if (stage2_count1 >= g_params.moving_avg_size)
        {
          is_stage2_full1 = 1;
        }
      }
    }
    // else, the buffer and index are not updated, effectively skipping the invalid sample.
    // filtered_distance1 = calculate_moving_average(Stage2_buffer1, g_params.moving_avg_size, is_stage2_full1);
    filtered_distance1 = (float)find_mode_in_buffer(Stage2_buffer1, g_params.moving_avg_size, is_stage2_full1);

    if (max_distance2 != g_params.tinggi_B)
    {
      Stage2_buffer2[stage2_index2] = max_distance2;
      stage2_index2 = (stage2_index2 + 1) % g_params.moving_avg_size;
      if (stage2_count2 < g_params.moving_avg_size)
      {
        stage2_count2++;
        if (stage2_count2 >= g_params.moving_avg_size)
        {
          is_stage2_full2 = 1;
        }
      }
    }
    // filtered_distance2 = calculate_moving_average(Stage2_buffer2, g_params.moving_avg_size, is_stage2_full2);
    filtered_distance2 = (float)find_mode_in_buffer(Stage2_buffer2, g_params.moving_avg_size, is_stage2_full2);

    if (max_distance3 != g_params.tinggi_C)
    {
      Stage2_buffer3[stage2_index3] = max_distance3;
      stage2_index3 = (stage2_index3 + 1) % g_params.moving_avg_size;
      if (stage2_count3 < g_params.moving_avg_size)
      {
        stage2_count3++;
        if (stage2_count3 >= g_params.moving_avg_size)
        {
          is_stage2_full3 = 1;
        }
      }
    }
    // filtered_distance3 = calculate_moving_average(Stage2_buffer3, g_params.moving_avg_size, is_stage2_full3);
    filtered_distance3 = (float)find_mode_in_buffer(Stage2_buffer3, g_params.moving_avg_size, is_stage2_full3);
  }

  // Gunakan nilai jarak yang sudah difilter
  float LevelA_cm = g_params.tinggi_A - filtered_distance1;
  float LevelB_cm = g_params.tinggi_B - filtered_distance2;
  float LevelC_cm = g_params.tinggi_C - filtered_distance3;

  LevelA_persen = (LevelA_cm / g_params.tinggi_A) * 100.0f;
  LevelB_persen = (LevelB_cm / g_params.tinggi_B) * 100.0f;
  LevelC_persen = (LevelC_cm / g_params.tinggi_C) * 100.0f;
  if (LevelA_persen < 0)
    LevelA_persen = 0;
  else if (LevelA_persen > 100)
    LevelA_persen = 100;
  if (LevelB_persen < 0)
    LevelB_persen = 0;
  else if (LevelB_persen > 100)
    LevelB_persen = 100;
  if (LevelC_persen < 0)
    LevelC_persen = 0;
  else if (LevelC_persen > 100)
    LevelC_persen = 100;

#if JENIS_ALARM == 1
  // Status sekarang per drum
  is_full_A = (LevelA_persen >= g_params.target_penuh_A);
  is_full_B = (LevelB_persen >= g_params.target_penuh_B);
  is_full_C = (LevelC_persen >= g_params.target_penuh_C);

  is_empty_A = (LevelA_persen <= g_params.ambang_bawah_A);
  is_empty_B = (LevelB_persen <= g_params.ambang_bawah_B);
  is_empty_C = (LevelC_persen <= g_params.ambang_bawah_C);

  // === Deteksi perubahan PENUH per drum ===
  if ((is_full_A && !was_full_A) ||
      (is_full_B && !was_full_B) ||
      (is_full_C && !was_full_C))
  {
    HAL_GPIO_WritePin(LED_GREEN_GPIO_Port, LED_GREEN_Pin, GPIO_PIN_SET);
    buzzer_active = 1;
    buzzer_start_time = HAL_GetTick();
    HAL_GPIO_WritePin(BUZZER_GPIO_Port, BUZZER_Pin, GPIO_PIN_SET);
  }

  // === Deteksi perubahan KOSONG per drum ===
  if ((is_empty_A && !was_empty_A) ||
      (is_empty_B && !was_empty_B) ||
      (is_empty_C && !was_empty_C))
  {
    HAL_GPIO_WritePin(LED_RED_GPIO_Port, LED_RED_Pin, GPIO_PIN_SET);
    buzzer_active = 1;
    buzzer_start_time = HAL_GetTick();
    HAL_GPIO_WritePin(BUZZER_GPIO_Port, BUZZER_Pin, GPIO_PIN_SET);
  }

  // === LED mati jika tidak ada drum penuh/kosong ===
  if (!(is_full_A || is_full_B || is_full_C))
  {
    HAL_GPIO_WritePin(LED_GREEN_GPIO_Port, LED_GREEN_Pin, GPIO_PIN_RESET);
  }
  if (!(is_empty_A || is_empty_B || is_empty_C))
  {
    HAL_GPIO_WritePin(LED_RED_GPIO_Port, LED_RED_Pin, GPIO_PIN_RESET);
  }

  // === Timer buzzer ===
  if (buzzer_active && (HAL_GetTick() - buzzer_start_time >= 8000))
  {
    buzzer_active = 0;
    HAL_GPIO_WritePin(BUZZER_GPIO_Port, BUZZER_Pin, GPIO_PIN_RESET);
  }

  // Update state sebelumnya
  was_full_A = is_full_A;
  was_full_B = is_full_B;
  was_full_C = is_full_C;

  was_empty_A = is_empty_A;
  was_empty_B = is_empty_B;
  was_empty_C = is_empty_C;
#elif JENIS_ALARM == 2
  // --- LED merah jika salah satu drum di bawah ambang ---
  if (LevelA_persen <= g_params.ambang_bawah_A ||
      LevelB_persen <= g_params.ambang_bawah_B ||
      LevelC_persen <= g_params.ambang_bawah_C)
    flag_alarm_sampai_penuh = 1;

  if ((LevelA_persen >= g_params.target_penuh_A ||
       LevelB_persen >= g_params.target_penuh_B ||
       LevelC_persen >= g_params.target_penuh_C) &&
      flag_alarm_sampai_penuh == 1)
  {
    flag_alarm_sampai_penuh = 0;
  }

  flag_alarm_sampai_penuh == 1 ? HAL_GPIO_WritePin(LED_RED_GPIO_Port, LED_RED_Pin, GPIO_PIN_SET) : HAL_GPIO_WritePin(LED_RED_GPIO_Port, LED_RED_Pin, GPIO_PIN_RESET);

  // --- LED hijau akan menyala jika semua drum tidak kosong ---
  if (LevelA_persen >= g_params.ambang_bawah_A && LevelB_persen >= g_params.ambang_bawah_B && LevelC_persen >= g_params.ambang_bawah_C)
    HAL_GPIO_WritePin(LED_GREEN_GPIO_Port, LED_GREEN_Pin, GPIO_PIN_SET);
  else
    HAL_GPIO_WritePin(LED_GREEN_GPIO_Port, LED_GREEN_Pin, GPIO_PIN_RESET);
#elif JENIS_ALARM == 3
  // --- LED merah jika salah satu drum di bawah ambang ---
  if (LevelA_persen <= g_params.ambang_bawah_A ||
      LevelB_persen <= g_params.ambang_bawah_B ||
      LevelC_persen <= g_params.ambang_bawah_C)
    HAL_GPIO_WritePin(LED_RED_GPIO_Port, LED_RED_Pin, GPIO_PIN_SET);
  else
    HAL_GPIO_WritePin(LED_RED_GPIO_Port, LED_RED_Pin, GPIO_PIN_RESET);

  // --- LED hijau akan menyala jika semua drum tidak kosong ---
  if (LevelA_persen >= g_params.ambang_bawah_A && LevelB_persen >= g_params.ambang_bawah_B && LevelC_persen >= g_params.ambang_bawah_C)
    HAL_GPIO_WritePin(LED_GREEN_GPIO_Port, LED_GREEN_Pin, GPIO_PIN_SET);
  else
    HAL_GPIO_WritePin(LED_GREEN_GPIO_Port, LED_GREEN_Pin, GPIO_PIN_RESET);
#endif

#if AUTO_CUT_OFF == 1
  // --- Kontrol POMPA_BA (drum A) ---
  if (state_pompa_A == STATE_IDLE)
  {
    if (LevelA_persen <= g_params.ambang_bawah_A &&
        HAL_GPIO_ReadPin(POMPA_1_ON_GPIO_Port, POMPA_1_ON_Pin) == GPIO_PIN_RESET) // tombol ditekan
    {
      state_pompa_A = STATE_FILLING;
      HAL_GPIO_WritePin(POMPA_BA_GPIO_Port, POMPA_BA_Pin, GPIO_PIN_SET);
    }
  }
  else if (state_pompa_A == STATE_FILLING)
  {
    if (LevelA_persen >= g_params.target_penuh_A)
    {
      state_pompa_A = STATE_IDLE;
      HAL_GPIO_WritePin(POMPA_BA_GPIO_Port, POMPA_BA_Pin, GPIO_PIN_RESET);
    }
  }

  // --- Kontrol POMPA_CB (drum B dan drum C) ---
  if (state_pompa_B == STATE_IDLE)
  {
    if (LevelB_persen <= g_params.ambang_bawah_B &&
        HAL_GPIO_ReadPin(POMPA_2_ON_GPIO_Port, POMPA_2_ON_Pin) == GPIO_PIN_RESET) // tombol ditekan
    {
      state_pompa_B = STATE_FILLING_B;
      HAL_GPIO_WritePin(POMPA_CB_GPIO_Port, POMPA_CB_Pin, GPIO_PIN_SET);
    }
    else if (LevelC_persen <= g_params.ambang_bawah_C &&
             HAL_GPIO_ReadPin(POMPA_2_ON_GPIO_Port, POMPA_2_ON_Pin) == GPIO_PIN_RESET) // tombol ditekan
    {
      state_pompa_B = STATE_FILLING_C;
      HAL_GPIO_WritePin(POMPA_CB_GPIO_Port, POMPA_CB_Pin, GPIO_PIN_SET);
    }
  }
  else if (state_pompa_B == STATE_FILLING_B)
  {
    if (LevelB_persen >= g_params.target_penuh_B)
    {
      state_pompa_B = STATE_IDLE;
      HAL_GPIO_WritePin(POMPA_CB_GPIO_Port, POMPA_CB_Pin, GPIO_PIN_RESET);
    }
  }
  else if (state_pompa_B == STATE_FILLING_C)
  {
    if (LevelC_persen >= g_params.target_penuh_C)
    {
      state_pompa_B = STATE_IDLE;
      HAL_GPIO_WritePin(POMPA_CB_GPIO_Port, POMPA_CB_Pin, GPIO_PIN_RESET);
    }
  }
#endif
}

void Update_LCD_Display(void)
{
#if AUTO_CUT_OFF == 1
  lcd_set_cursor(0, 0);
  sprintf(lcd_buffer1, "%3.0f%% %3.0f%% %3.0f%%", LevelA_persen, LevelB_persen, LevelC_persen);
  lcd_send_string(lcd_buffer1);

  lcd_set_cursor(1, 0);
  char status[17] = {0};
  if (state_pompa_A == STATE_IDLE && state_pompa_B == STATE_IDLE)
  {
    // Cek apakah ada drum yang habis
    if (LevelA_persen <= g_params.ambang_bawah_A)
      strcpy(status, "drum A habis    ");
    else if (LevelB_persen <= g_params.ambang_bawah_B)
      strcpy(status, "drum B habis    ");
    else if (LevelC_persen <= g_params.ambang_bawah_C)
      strcpy(status, "drum C habis    ");
    else
      strcpy(status, "idle...         ");
  }
  else
  {
    // Pompa sedang bekerja
    if (state_pompa_A == STATE_FILLING)
      strcpy(status, "isi drum A      ");
    else if (state_pompa_B == STATE_FILLING_B)
      strcpy(status, "isi drum B      ");
    else if (state_pompa_B == STATE_FILLING_C)
      strcpy(status, "isi drum C      ");
  }

  lcd_set_cursor(1, 0);
  lcd_send_string(status);
#elif AUTO_CUT_OFF == 0
  // Baris 1: Persentase level
  sprintf(lcd_buffer1, "%3.0f%% %3.0f%% %3.0f%%", LevelA_persen, LevelB_persen, LevelC_persen);
  lcd_set_cursor(0, 0);
  lcd_send_string(lcd_buffer1);

  // Baris 2: Status ringkas semua drum
  char statusA[5], statusB[5], statusC[5];
  //  char lcd_buffer2[17]={0};

  // Tentukan status drum A
  if (LevelA_persen >= g_params.target_penuh_A)
    strcpy(statusA, "APnh");
  else if (LevelA_persen <= g_params.ambang_bawah_A)
    strcpy(statusA, "AKsg");
  else
    strcpy(statusA, "AIdl");

  // Tentukan status drum B
  if (LevelB_persen >= g_params.target_penuh_B)
    strcpy(statusB, "BPnh");
  else if (LevelB_persen <= g_params.ambang_bawah_B)
    strcpy(statusB, "BKsg");
  else
    strcpy(statusB, "BIdl");

  // Tentukan status drum C
  if (LevelC_persen >= g_params.target_penuh_C)
    strcpy(statusC, "CPnh");
  else if (LevelC_persen <= g_params.ambang_bawah_C)
    strcpy(statusC, "CKsg");
  else
    strcpy(statusC, "CIdl");

  sprintf(lcd_buffer2, "%s %s %s", statusA, statusB, statusC);
  lcd_set_cursor(1, 1);
  lcd_send_string(lcd_buffer2);
#endif
}

/**
 * @brief  Callback ini dipanggil dari usbd_cdc_if.c setiap kali data diterima dari USB VCP.
 */
void CDC_On_Receive(uint8_t *Buf, uint32_t Len)
{
  for (uint32_t i = 0; i < Len; i++)
  {
    // Cek jika buffer penuh
    if (g_rx_index >= RX_BUFFER_SIZE - 1)
    {
      g_rx_index = 0; // Reset jika overflow
      memset(g_usb_rx_buffer, 0, RX_BUFFER_SIZE);
    }

    // Echo karakter kembali ke terminal
    CDC_Transmit_FS(&Buf[i], 1);

    // Jika menerima Enter (CR) atau Newline (LF)
    if (Buf[i] == '\r' || Buf[i] == '\n')
    {
      // Abaikan jika buffer kosong
      if (g_rx_index > 0)
      {
        g_usb_rx_buffer[g_rx_index] = '\0'; // Null-terminate string
        g_command_ready = 1;                // Set flag untuk diproses di main loop
      }
    }
    else
    {
      g_usb_rx_buffer[g_rx_index++] = Buf[i]; // Tambahkan karakter ke buffer
    }
  }
}

/* USER CODE END 4 */

void Error_Handler(void)
{
  __disable_irq();
  while (1)
  {
  }
}
